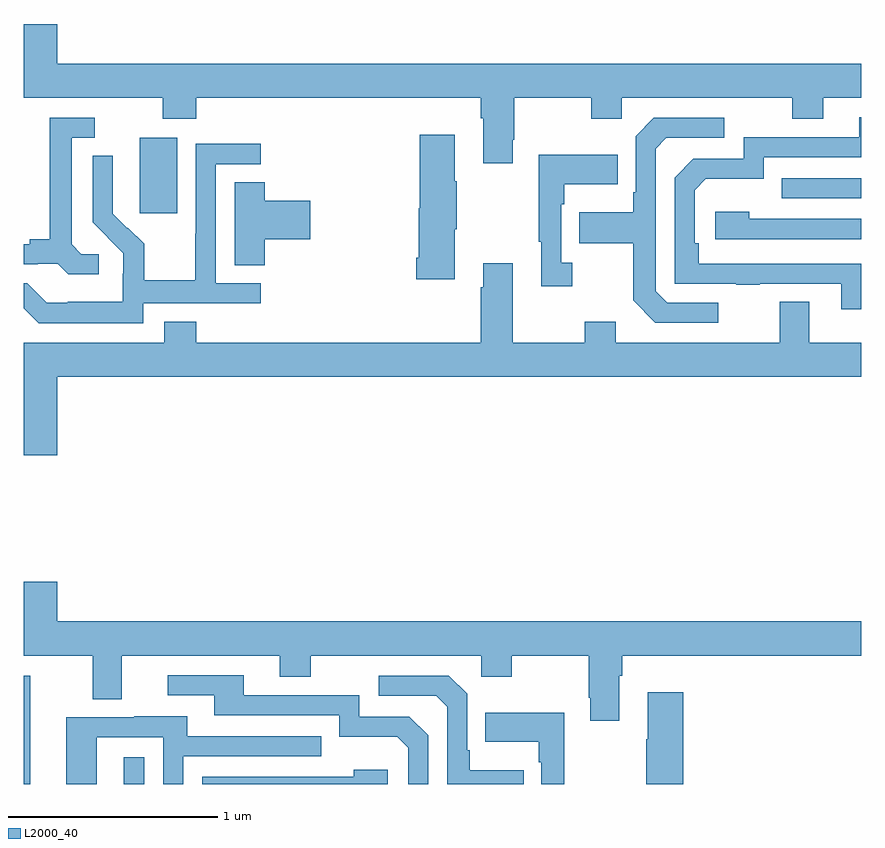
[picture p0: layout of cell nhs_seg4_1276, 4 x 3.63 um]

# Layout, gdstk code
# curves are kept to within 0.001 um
import gdstk
lib = gdstk.Library(unit=1e-6, precision=1e-09)
def R(c, l, rs):  # rectangles x0, y0, x1, y1
    for r in rs: c.add(gdstk.rectangle(r[:2], r[2:], *l))
def P(c, l, *ps):  # polygons
    for p in ps: c.add(gdstk.Polygon(p, *l))
L2000_40 = (2000, 40)

nhs_seg4_1276 = lib.new_cell('nhs_seg4_1276')
R(nhs_seg4_1276, L2000_40, [(177,770.9,177.031,771.417), (177.479,770.9,177.576,771.028), (177.554,773.625,177.733,773.986), (180.619,773.697,181,773.793)])
P(nhs_seg4_1276, L2000_40, [(179.335,773.977),(179.343,773.977),(179.343,774.176),(179.71,774.176),(179.71,774.077),(179.856,774.077),(179.856,774.176),(180.67,774.176),(180.67,774.077),(180.817,774.077),(180.817,774.176),(181,774.176),(181,774.34),(177.16,774.34),(177.16,774.529),(177,774.529),(177,774.176),(177.664,774.176),(177.664,774.077),(177.824,774.077),(177.824,774.176),(179.183,774.176),(179.183,774.08),(179.195,774.08),(179.195,773.865),(179.335,773.865)],
  [(181,773.384),(180.224,773.385),(180.224,773.482),(180.204,773.482),(180.204,773.736),(180.257,773.789),(180.534,773.789),(180.534,773.892),(181,773.892),(181,774.084),(180.989,774.084),(180.989,773.988),(180.438,773.988),(180.438,773.886),(180.198,773.886),(180.108,773.796),(180.108,773.289),(180.403,773.289),(180.403,773.284),(180.515,773.284),(180.515,773.289),(180.905,773.289),(180.905,773.166),(181,773.166)],
  [(177.358,773.43),(177.276,773.43),(177.229,773.477),(177.229,773.985),(177.34,773.985),(177.34,774.081),(177.125,774.081),(177.125,773.501),(177.029,773.501),(177.029,773.478),(177,773.478),(177,773.382),(177.068,773.382),(177.068,773.385),(177.162,773.385),(177.214,773.333),(177.358,773.333)],
  [(180.316,773.199),(180.072,773.199),(180.018,773.253),(180.018,773.934),(180.069,773.985),(180.346,773.985),(180.346,774.081),(180.009,774.081),(179.922,773.994),(179.922,773.725),(179.91,773.725),(179.91,773.629),(179.653,773.629),(179.653,773.482),(179.91,773.482),(179.91,773.209),(180.015,773.103),(180.316,773.103)],
  [(179.059,773.549),(179.067,773.549),(179.067,773.777),(179.059,773.777),(179.059,774.001),(178.892,774.001),(178.892,773.649),(178.886,773.649),(178.886,773.413),(178.874,773.413),(178.874,773.309),(179.059,773.309)],
  [(177.57,773.196),(178.132,773.196),(178.132,773.292),(177.918,773.292),(177.918,773.859),(178.132,773.859),(178.132,773.958),(177.822,773.958),(177.822,773.528),(177.82,773.528),(177.82,773.305),(177.575,773.305),(177.575,773.479),(177.498,773.556),(177.495,773.553),(177.425,773.624),(177.426,773.9),(177.33,773.9),(177.33,773.582),(177.476,773.434),(177.476,773.337),(177.474,773.337),(177.474,773.203),(177.211,773.203),(177.211,773.199),(177.111,773.199),(177.018,773.292),(177,773.292),(177,773.172),(177.073,773.099),(177.57,773.099)],
  [(179.62,773.39),(179.568,773.39),(179.568,773.669),(179.581,773.669),(179.581,773.765),(179.837,773.765),(179.837,773.905),(179.46,773.905),(179.46,773.489),(179.471,773.489),(179.471,773.277),(179.62,773.277)],
  [(178.151,773.501),(178.369,773.501),(178.369,773.684),(178.151,773.684),(178.151,773.774),(178.007,773.774),(178.007,773.377),(178.151,773.377)],
  [(181,773.598),(180.464,773.598),(180.464,773.632),(180.303,773.632),(180.303,773.502),(181,773.502)],
  [(181,773.008),(180.751,773.008),(180.751,773.203),(180.611,773.203),(180.611,773.008),(179.827,773.008),(179.827,773.107),(179.68,773.107),(179.68,773.008),(179.335,773.008),(179.335,773.386),(179.195,773.386),(179.195,773.273),(179.183,773.273),(179.183,773.008),(177.824,773.008),(177.824,773.107),(177.671,773.107),(177.671,773.008),(177,773.008),(177,772.47),(177.16,772.47),(177.16,772.844),(181,772.844)],
  [(179.845,771.416),(179.858,771.416),(179.858,771.512),(181,771.512),(181,771.676),(177.16,771.676),(177.16,771.865),(177,771.865),(177,771.512),(177.329,771.512),(177.329,771.304),(177.469,771.304),(177.469,771.512),(178.223,771.512),(178.223,771.413),(178.371,771.413),(178.371,771.512),(179.184,771.512),(179.184,771.413),(179.331,771.413),(179.331,771.512),(179.698,771.512),(179.698,771.313),(179.705,771.313),(179.705,771.201),(179.845,771.201)],
  [(178.932,771.132),(178.842,771.222),(178.602,771.222),(178.602,771.324),(178.051,771.324),(178.051,771.42),(177.687,771.42),(177.687,771.324),(177.911,771.324),(177.911,771.228),(178.506,771.228),(178.506,771.125),(178.783,771.125),(178.836,771.072),(178.836,770.9),(178.932,770.9)],
  [(179.387,770.965),(179.131,770.965),(179.131,771.061),(179.118,771.061),(179.118,771.33),(179.031,771.417),(178.695,771.417),(178.695,771.321),(178.971,771.321),(179.022,771.27),(179.022,770.9),(179.387,770.9)],
  [(180.149,771.337),(179.981,771.337),(179.981,771.113),(179.974,771.113),(179.974,770.9),(180.149,770.9)],
  [(179.581,771.241),(179.203,771.241),(179.203,771.101),(179.46,771.101),(179.46,771.005),(179.472,771.005),(179.472,770.9),(179.581,770.9)],
  [(177.348,771.123),(177.666,771.123),(177.666,770.9),(177.762,770.9),(177.762,771.033),(178.421,771.033),(178.421,771.129),(177.781,771.129),(177.781,771.223),(177.527,771.223),(177.527,771.219),(177.203,771.219),(177.203,770.9),(177.348,770.9)],
  [(178.738,770.968),(178.577,770.968),(178.577,770.934),(177.852,770.934),(177.852,770.9),(178.738,770.9)])

lib.write_gds('nhs_seg4_1276.gds')
